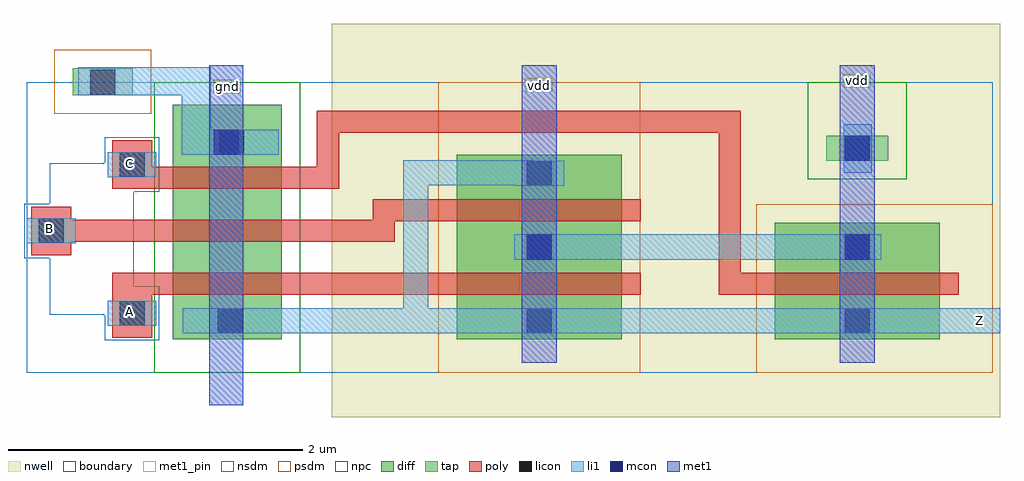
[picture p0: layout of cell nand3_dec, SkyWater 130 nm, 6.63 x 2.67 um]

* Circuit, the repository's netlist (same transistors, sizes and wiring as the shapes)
* NGSPICE file created from nand3_dec.ext - technology: EFS8A


* Top level circuit nand3_dec
.subckt nand3_dec A B C Z vdd gnd

M1001 Z A a_n346_328# gnd nshort W=0.74 L=0.15
M1002 a_n346_256# C gnd gnd nshort W=0.74 L=0.15
M1003 a_n346_328# B a_n346_256# gnd nshort W=0.74 L=0.15
M1000 Z B vdd vdd pshort W=1.12 L=0.15
M1004 Z A vdd vdd pshort W=1.12 L=0.15
M1005 Z C vdd vdd pshort W=1.12 L=0.15
.ends

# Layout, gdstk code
import gdstk
lib = gdstk.Library(unit=1e-6, precision=1e-09)
def R(c, l, rs):  # rectangles x0, y0, x1, y1
    for r in rs: c.add(gdstk.rectangle(r[:2], r[2:], *l))
def A(c, l, x, y, w, h, nx, ny, dx, dy):  # array of equal rectangles
    R(c, l, [(x+i*dx, y+j*dy, x+i*dx+w, y+j*dy+h) for i in range(nx) for j in range(ny)])
nwell = (64, 20)
diff = (65, 20)
tap = (65, 44)
poly = (66, 20)
licon = (66, 44)
li1 = (67, 20)
mcon = (67, 44)
met1_pin = (68, 16)
met1 = (68, 20)
nsdm = (93, 44)
psdm = (94, 20)
npc = (95, 20)
boundary = (235, 4)

nand3_dec = lib.new_cell('nand3_dec')
R(nand3_dec, nwell, [(2.07,-0.3,6.61,2.37)])
R(nand3_dec, diff, [(0.99,0.23,1.73,1.82), (2.92,0.23,4.04,1.48), (5.08,0.23,6.2,1.02)])
R(nand3_dec, tap, [(5.43,1.44,5.85,1.61), (0.31,1.885,0.72,2.07)])
R(nand3_dec, poly, [(0.58,0.24,0.85,0.53), (0.58,0.53,4.17,0.68), (4.7,0.53,6.33,0.68), (4.7,0.68,4.85,1.63), (0.03,0.8,0.3,0.89), (0.03,0.89,2.5,1.03), (0.03,1.03,4.17,1.04), (0.03,1.04,0.3,1.13), (2.35,1.04,4.17,1.18), (0.58,1.25,2.12,1.4), (0.58,1.4,0.85,1.58), (1.97,1.4,2.12,1.63), (1.97,1.63,4.85,1.78)])
A(nand3_dec, licon, 3.395, 0.27, 0.17, 0.17, 1, 3, 0, 0.5)
R(nand3_dec, licon, [(1.295,0.27,1.465,0.44), (5.555,0.27,5.725,0.44), (0.63,0.32,0.8,0.49), (5.555,0.77,5.725,0.94), (0.08,0.88,0.25,1.05), (0.63,1.33,0.8,1.5), (5.55,1.44,5.72,1.61), (1.305,1.48,1.475,1.65), (0.43,1.89,0.6,2.06)])
R(nand3_dec, li1, [(1.06,0.27,6.61,0.44), (0.55,0.32,0.88,0.49), (2.555,0.44,2.725,1.275), (3.31,0.77,5.805,0.94), (0,0.88,0.33,1.05), (3.31,1.27,3.65,1.275), (2.555,1.275,3.65,1.44), (0.55,1.33,0.88,1.5), (5.55,1.36,5.74,1.69), (2.555,1.44,3.435,1.445), (1.05,1.48,1.71,1.65), (1.05,1.65,1.25,1.885), (0.35,1.885,1.25,2.075)])
R(nand3_dec, mcon, [(3.395,0.77,3.565,0.94), (5.555,0.77,5.725,0.94), (5.555,1.44,5.725,1.61), (1.27,1.48,1.44,1.65)])
R(nand3_dec, met1_pin, [(1.27,1.9,1.45,1.99), (3.39,1.91,3.57,2), (5.55,1.94,5.73,2.03)])
R(nand3_dec, met1, [(1.24,-0.22,1.47,2.09), (3.36,0.07,3.6,2.09), (5.52,0.07,5.76,2.09)])
R(nand3_dec, nsdm, [(0.865,0,1.855,1.975), (5.305,1.315,5.975,1.975)])
R(nand3_dec, psdm, [(2.795,0,4.165,1.975), (4.955,0,6.56,1.145), (0.185,1.76,0.845,2.195)])
R(nand3_dec, npc, [(0.53,0.22,0.9,0.395), (0.155,0.395,0.9,0.59), (0.155,0.59,0.725,0.78), (-0.02,0.78,0.725,1.15), (0.155,1.15,0.725,1.23), (0.155,1.23,0.9,1.425), (0.53,1.425,0.9,1.6)])
R(nand3_dec, boundary, [(0,0,6.56,1.975)])
nand3_dec.add(gdstk.Label('C', (0.7,1.42), layer=67, texttype=20))
nand3_dec.add(gdstk.Label('Z', (6.47,0.355), layer=67, texttype=20))
nand3_dec.add(gdstk.Label('B', (0.15,0.98), layer=67, texttype=20))
nand3_dec.add(gdstk.Label('A', (0.7,0.42), layer=67, texttype=20))
nand3_dec.add(gdstk.Label('vdd', (5.64,1.985), layer=68, texttype=16))
nand3_dec.add(gdstk.Label('vdd', (3.48,1.955), layer=68, texttype=16))
nand3_dec.add(gdstk.Label('gnd', (1.36,1.945), layer=68, texttype=16))

lib.write_gds('nand3_dec.gds')
